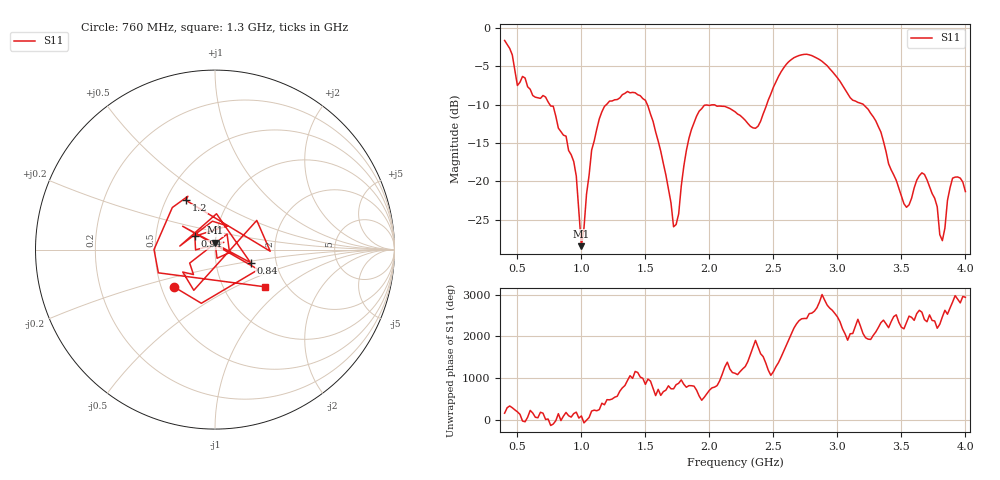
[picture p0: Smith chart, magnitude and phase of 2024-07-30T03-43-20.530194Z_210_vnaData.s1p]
!Created with skrf (http://scikit-rf.org).
# Hz S RI R 50.0
!freq ReS11 ImS11
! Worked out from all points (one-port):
!   181 points, 400 MHz to 4 GHz, reference 50 ohm
!   lowest |S11| = -28.4 dB at 1 GHz (marker M1), VSWR 1.08, Z = 49.9 + j3.78 ohm
!   |S11| at or under -10 dB: 753 MHz to 1.196 GHz (442.5 MHz wide, 45.4 % of centre); 1.515 GHz to 2.448 GHz (932.8 MHz wide, 47.1 % of centre); 3.204 GHz to end of sweep
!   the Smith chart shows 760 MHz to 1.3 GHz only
!   S11 on the Smith chart (normalised r, x): 760 MHz: 0.58, -0.26; 840 MHz: 1.47, -0.22; 940 MHz: 0.79, +0.12; 1.2 GHz: 0.63, +0.39; 1.3 GHz: 1.57, -0.74
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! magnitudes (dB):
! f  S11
! 400 MHz  -1.6
! 500 MHz  -7.5
! 760 MHz  -10.2
! 840 MHz  -13.5
! 860 MHz  -14.0
! 940 MHz  -17.4
! 1 GHz  -28.4
! 1.08 GHz  -15.9
! 1.2 GHz  -9.9
! 1.3 GHz  -9.1
! 1.5 GHz  -9.4
! 1.62 GHz  -16.1
! 1.72 GHz  -25.9
! 1.76 GHz  -24.2
! 1.82 GHz  -16.0
! 1.92 GHz  -10.9
! 2.2 GHz  -10.9
! 2.38 GHz  -12.8
! 2.66 GHz  -3.9
! 2.88 GHz  -4.4
! 3.1 GHz  -9.1
! 3.3 GHz  -12.1
! 3.56 GHz  -23.0
! 3.68 GHz  -19.1
! 3.78 GHz  -23.3
! 3.82 GHz  -27.7
! 3.9 GHz  -19.6
! 4 GHz  -21.3
